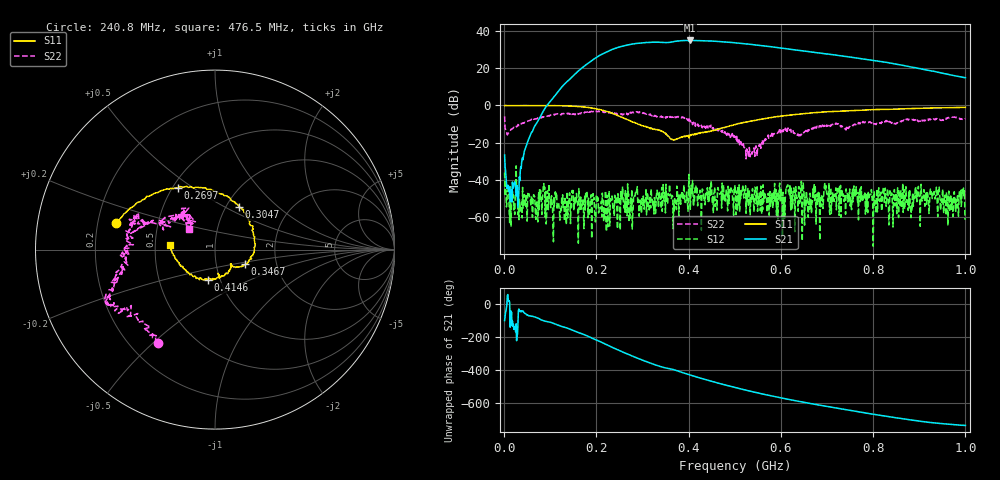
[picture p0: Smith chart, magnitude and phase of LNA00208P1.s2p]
! Created with skrf 1.9.0 (http://scikit-rf.org).
# Hz S RI R 50.0
!freq ReS11 ImS11 ReS21 ImS21 ReS12 ImS12 ReS22 ImS22
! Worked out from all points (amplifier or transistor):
!   1001 points, 1 MHz to 1 GHz, reference 50 ohm
!   highest |S21| = 34.9 dB at 403.6 MHz (marker M1)
!   |S21| within 3 dB of that: 257.4 MHz to 565.9 MHz (308.5 MHz wide, 75 % of centre)
!   unconditionally stable (mu >= 1): 3.539 MHz to 96.55 MHz; 288.8 MHz to 400.4 MHz; 400.8 MHz to end of sweep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
!   at 166.8 MHz: K = 1.59, MAG = 30.8 dB, |S12| = -50.8 dB
!   at 500.5 MHz: K = 1.46, MAG = 34.1 dB, |S12| = -42.6 dB
!   at 1 GHz: K = 17.14, MAG = 22.8 dB, |S12| = -61.3 dB
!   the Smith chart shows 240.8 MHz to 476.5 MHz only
!   S11 on the Smith chart (normalised r, x): 240.8 MHz: 0.28, +0.12; 269.7 MHz: 0.53, +0.44; 304.7 MHz: 1.15, +0.59; 346.7 MHz: 1.38, -0.23; 414.6 MHz: 0.87, -0.31; 476.5 MHz: 0.60, +0.04
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1000000  0.9836 0.00172  -0.00804 -0.0463  -0.0125 0.00982  0.3228 0.3962
1.07893e8  0.5077 -0.8508  -0.7901 -1.502  0.00249 -0.00222  0.4284 -0.3855
1.67833e8  -0.2722 -0.8807  -10.01 -0.2183  -0.000807 0.00144  0.0246 -0.6412
2.08792e8  -0.6791 -0.3611  -15.06 16.84  0.000959 -0.00157  -0.2044 -0.6526
2.4076e8  -0.5504 0.1492  -0.3763 34.17  -0.0018 -0.00185  -0.32 -0.5185
2.69731e8  -0.2078 0.3436  24.17 34.77  -0.00139 -0.00403  -0.4934 -0.3177
3.04696e8  0.1335 0.2376  46.61 13.31  -0.00262 -0.00069  -0.5738 -0.2137
3.34666e8  0.2198 -0.000836  48.35 -11.73  -0.00103 0.00147  -0.5078 -0.0474
3.46654e8  0.1686 -0.0815  44.74 -19.53  0.00237 0.00148  -0.5089 0.00198
3.75625e8  0.0906 -0.0897  38.82 -36.94  -0.00128 0.00477  -0.4637 0.1656
4.03597e8  0.0168 -0.1536  19.89 -51.8  -0.000775 -0.00145  -0.3651 0.1533
4.14586e8  -0.0399 -0.1712  11.19 -54.09  0.00355 0.00589  -0.2474 0.1272
4.43557e8  -0.1621 -0.1131  -10.84 -52.63  0.0049 0.000786  -0.1834 0.2097
4.76524e8  -0.2521 0.0277  -30.46 -40.67  0.00244 -0.00207  -0.1464 0.1128
5.005e8  -0.2606 0.1576  -38.9 -28.49  0.0034 -0.00658  -0.1242 0.0686
5.39461e8  -0.1795 0.345  -42.18 -7.403  0.00291 -0.000506  -0.0585 -0.00236
5.85415e8  0.019 0.4897  -34.93 11.6  0.00136 -0.00291  -0.1586 -0.0702
6.25375e8  0.2076 0.5247  -24.02 20.46  0.00193 0.000752  -0.1644 -0.1246
6.67333e8  0.407 0.4838  -12.53 23.81  0.00187 -0.00178  -0.2278 -0.0449
7.53247e8  0.6777 0.2674  4.59 19.04  0.00117 -0.00109  -0.2758 0.000267
8.34166e8  0.7906 0.00372  10.67 8.979  -0.000615 9.34e-05  -0.3648 -0.0157
1e9  0.7176 -0.5273  5.425 -1.247  0.000463 0.000726  -0.3535 0.2699
